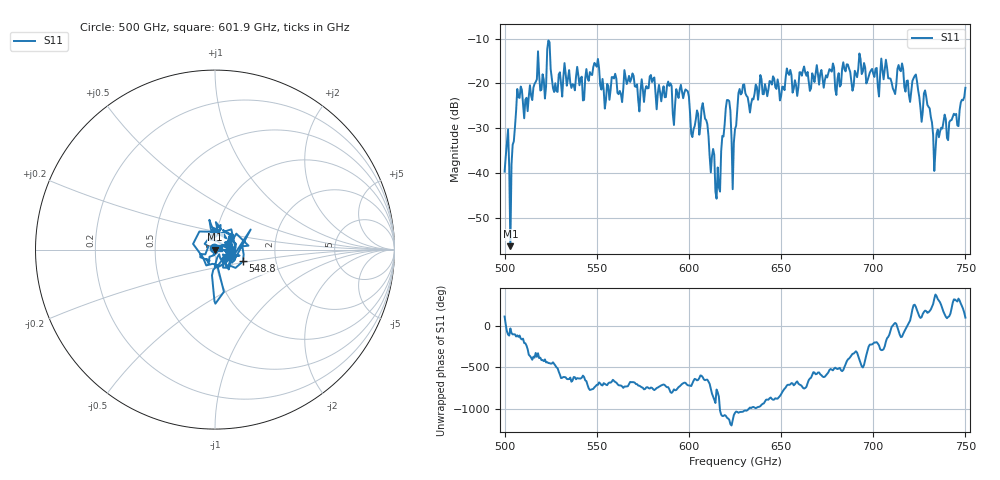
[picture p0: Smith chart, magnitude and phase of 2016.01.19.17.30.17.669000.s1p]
!Created with skrf (http://scikit-rf.org).
# GHz S RI R 50.0
!freq ReS11 ImS11
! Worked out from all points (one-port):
!   401 points, 500 GHz to 750 GHz, reference 50 ohm
!   lowest |S11| = -56.2 dB at 503.1 GHz (marker M1), VSWR 1.00, Z = 50.1 - j0.0769 ohm
!   |S11| at or under -10 dB: start of sweep to end of sweep
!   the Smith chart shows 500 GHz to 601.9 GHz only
!   S11 on the Smith chart (normalised r, x): 500 GHz: 0.99, +0.02; 548.8 GHz: 1.36, -0.18; 601.9 GHz: 1.05, +0.02
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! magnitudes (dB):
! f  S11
! 500 GHz  -39.6
! 503.1 GHz  -56.2
! 508.1 GHz  -23.2
! 521.2 GHz  -19.2
! 524.4 GHz  -10.8
! 527.5 GHz  -19.9
! 531.2 GHz  -22.9
! 541.9 GHz  -18.5
! 548.8 GHz  -15.4
! 562.5 GHz  -21.7
! 568.8 GHz  -19.0
! 593.8 GHz  -22.2
! 598.8 GHz  -21.5
! 601.9 GHz  -31.9
! 608.1 GHz  -26.2
! 615.6 GHz  -38.7
! 620.6 GHz  -23.7
! 625 GHz  -30.2
! 628.8 GHz  -22.1
! 656.2 GHz  -22.0
! 687.5 GHz  -17.4
! 705.6 GHz  -19.1
! 711.2 GHz  -21.6
! 715 GHz  -17.3
! 718.8 GHz  -19.3
! 728.8 GHz  -22.9
! 734.4 GHz  -31.1
! 750 GHz  -21.0
